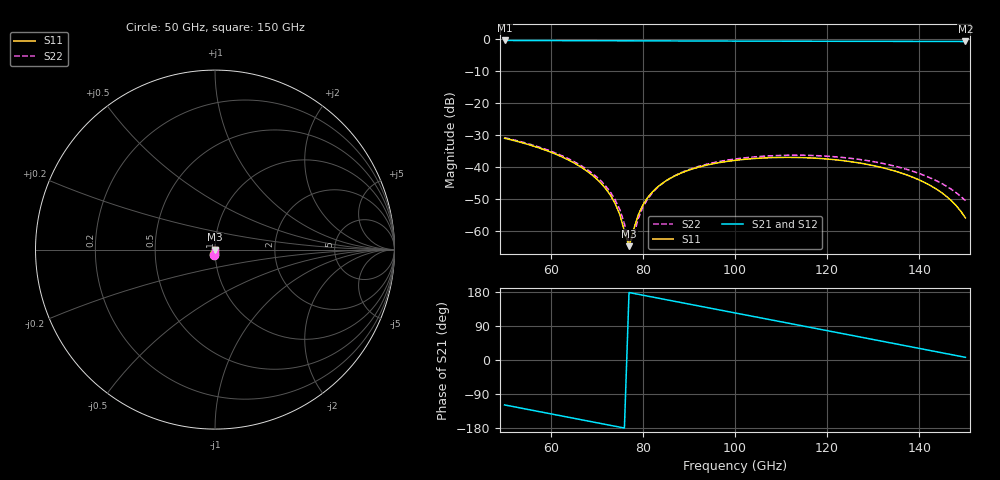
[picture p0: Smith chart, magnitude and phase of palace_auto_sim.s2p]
#  GHZ S DB R 50
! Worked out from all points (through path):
!   101 points, 50 GHz to 150 GHz, reference 50 ohm
!   highest |S21| = -0.60 dB at 50 GHz (marker M1); lowest = -0.9 dB at 150 GHz (marker M2)
!   group delay of S21, straight-line fit = 6.51 ps
!   lowest |S11| = -64.8 dB at 77 GHz (marker M3), VSWR 1.00, Z = 50 - j0.0554 ohm
!   |S11| at or under -10 dB: start of sweep to end of sweep
!   |S22| runs from -63.9 to -30.9 dB; largest |S21 - S12| = 1.1e-14
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50  -31.13 -101.1  -0.60 -118.6  -0.60 -118.6  -30.94 -101.5
60  -35.44 -124.6  -0.64 -142.0  -0.64 -142.0  -35.13 -125.1
67  -40.50 -140.0  -0.67 -158.5  -0.67 -158.5  -40.01 -140.7
71  -45.28 -147.1  -0.68 -167.9  -0.68 -167.9  -44.57 -148.1
74  -51.51 -147.9  -0.69 -174.9  -0.69 -174.9  -50.33 -149.9
75  -54.94 -144.0  -0.70 -177.2  -0.70 -177.2  -53.39 -147.6
76  -60.00 -130.0  -0.70 -179.6  -0.70 -179.6  -57.78 -138.9
77  -64.78 -73.7  -0.71 178.1  -0.71 178.1  -63.86 -102.7
78  -59.63 -23.4  -0.71 175.7  -0.71 175.7  -61.57 -34.9
79  -55.02 -11.2  -0.71 173.4  -0.71 173.4  -56.19 -15.1
80  -51.94 -7.8  -0.72 171.0  -0.72 171.0  -52.66 -9.8
82  -47.97 -7.6  -0.73 166.4  -0.73 166.4  -48.27 -8.8
84  -45.40 -10.2  -0.73 161.7  -0.73 161.7  -45.50 -11.1
91  -40.59 -23.6  -0.76 145.3  -0.76 145.3  -40.38 -24.4
100  -38.01 -42.7  -0.80 124.2  -0.80 124.2  -37.58 -43.7
109  -37.12 -62.4  -0.82 103.2  -0.82 103.2  -36.51 -63.6
117  -37.30 -80.7  -0.84 84.5  -0.84 84.5  -36.50 -82.1
125  -38.39 -99.9  -0.86 65.8  -0.86 65.8  -37.35 -101.4
134  -41.05 -121.7  -0.88 44.7  -0.88 44.7  -39.57 -123.5
144  -47.25 -143.5  -0.91 21.2  -0.91 21.2  -44.58 -146.5
147  -50.66 -147.0  -0.91 14.1  -0.91 14.1  -47.08 -151.8
150  -55.95 -142.5  -0.92 7.1  -0.92 7.1  -50.58 -154.3
